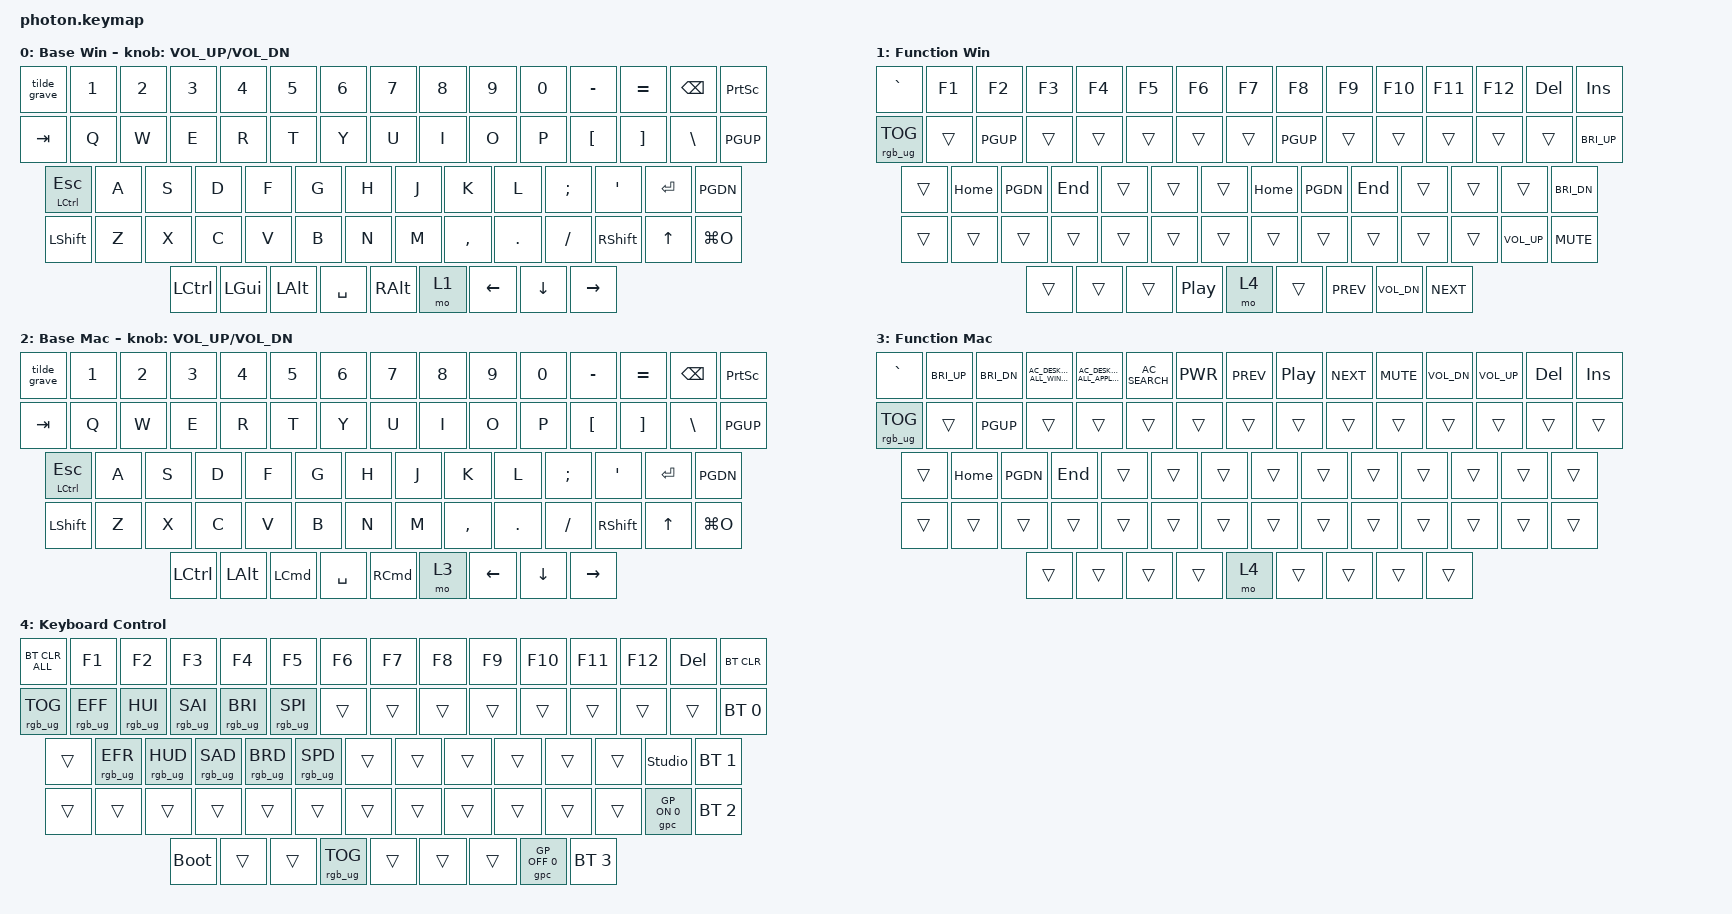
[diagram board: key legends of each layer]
/*
 * Copyright (c) 2024 CannonKeys LLC
 *
 * SPDX-License-Identifier: MIT
 */

#include <behaviors.dtsi>
#include <dt-bindings/zmk/keys.h>
#include <dt-bindings/zmk/rgb.h>
#include <dt-bindings/zmk/bt.h>
#include <dt-bindings/zmk/control_gpio.h>

/ {
    behaviors {
        /*
         * Tilde (~) when pressed; backtick (`) when Shift is held.
         * Like the key above TAB on a normal laptop, but without ESC.
         */
        tilde_grave: tilde_grave {
            compatible = "zmk,behavior-mod-morph";
            #binding-cells = <0>;
            bindings = <&kp LS(GRAVE)>, <&kp GRAVE>;
            mods = <(MOD_LSFT|MOD_RSFT)>;
        };
    };

    keymap {
        compatible = "zmk,keymap";

        windows_base_layer {
            display-name = "Base Win";
            bindings = <
    &tilde_grave &kp N1    &kp N2    &kp N3    &kp N4    &kp N5    &kp N6    &kp N7    &kp N8    &kp N9    &kp N0    &kp MINUS &kp EQUAL  &kp BSPC  &kp PSCRN
    &kp TAB   &kp Q     &kp W     &kp E     &kp R     &kp T     &kp Y     &kp U     &kp I     &kp O     &kp P     &kp LBKT  &kp RBKT   &kp BSLH  &kp PGUP
    &mt LCTRL ESC &kp A     &kp S     &kp D     &kp F     &kp G     &kp H     &kp J     &kp K     &kp L     &kp SEMI  &kp SQT              &kp RET   &kp PGDN
    &kp LSHFT           &kp Z     &kp X     &kp C     &kp V     &kp B     &kp N     &kp M     &kp COMMA &kp DOT   &kp FSLH  &kp RSHFT  &kp UP    &kp LG(O)
    &kp LCTRL &kp LGUI  &kp LALT                                &kp SPACE                               &kp RALT  &mo 1     &kp LEFT   &kp DOWN  &kp RIGHT
                >;
            sensor-bindings = <&inc_dec_kp C_VOL_UP C_VOL_DN>;
        };

        windows_function_layer {
            display-name = "Function Win";
            bindings = <
    &kp GRAVE &kp F1    &kp F2    &kp F3    &kp F4    &kp F5    &kp F6    &kp F7    &kp F8    &kp F9    &kp F10   &kp F11   &kp F12   &kp DEL   &kp INS  
    &rgb_ug RGB_TOG     &trans    &kp PGUP  &trans  &trans    &trans    &trans    &trans    &kp PGUP  &trans    &trans    &trans    &trans    &trans  &kp C_BRI_UP   
    &trans    &kp HOME  &kp PGDN  &kp END  &trans &trans    &trans    &kp HOME  &kp PGDN  &kp END   &trans    &trans              &trans      &kp C_BRI_DN 
    &trans              &trans    &trans    &trans    &trans    &trans    &trans    &trans    &trans    &trans    &trans    &trans    &kp C_VOL_UP    &kp C_MUTE   
    &trans    &trans    &trans                                  &kp C_PP                             &mo 4     &trans    &kp C_PREV    &kp C_VOL_DN    &kp C_NEXT
            >;
        };

        mac_base_layer {
            display-name = "Base Mac";
            bindings = <
    &tilde_grave &kp N1    &kp N2    &kp N3    &kp N4    &kp N5    &kp N6    &kp N7    &kp N8    &kp N9    &kp N0    &kp MINUS &kp EQUAL  &kp BSPC  &kp PSCRN
    &kp TAB   &kp Q     &kp W     &kp E     &kp R     &kp T     &kp Y     &kp U     &kp I     &kp O     &kp P     &kp LBKT  &kp RBKT   &kp BSLH  &kp PGUP
    &mt LCTRL ESC &kp A     &kp S     &kp D     &kp F     &kp G     &kp H     &kp J     &kp K     &kp L     &kp SEMI  &kp SQT              &kp RET   &kp PGDN
    &kp LSHFT           &kp Z     &kp X     &kp C     &kp V     &kp B     &kp N     &kp M     &kp COMMA &kp DOT   &kp FSLH  &kp RSHFT  &kp UP    &kp LG(O)
    &kp LCTRL &kp LALT  &kp LCMD                                &kp SPACE                               &kp RCMD  &mo 3     &kp LEFT   &kp DOWN  &kp RIGHT
                >;
            sensor-bindings = <&inc_dec_kp C_VOL_UP C_VOL_DN>;

        };

        mac_function_layer {
            display-name = "Function Mac";
            bindings = <
    &kp GRAVE   &kp C_BRI_UP   &kp C_BRI_DN   &kp C_AC_DESKTOP_SHOW_ALL_WINDOWS   &kp C_AC_DESKTOP_SHOW_ALL_APPLICATIONS    &kp C_AC_SEARCH    &kp C_PWR    &kp C_PREV    &kp C_PP    &kp C_NEXT    &kp C_MUTE    &kp C_VOL_DN    &kp C_VOL_UP    &kp DEL    &kp INS 
    &rgb_ug RGB_TOG   &trans   &kp PGUP   &trans &trans   &trans    &trans    &trans    &trans    &trans    &trans    &trans    &trans    &trans    &trans   
    &trans   &kp HOME   &kp PGDN   &kp END   &trans &trans    &trans    &trans    &trans    &trans    &trans    &trans              &trans    &trans  
    &trans            &trans   &trans   &trans   &trans    &trans    &trans    &trans    &trans    &trans    &trans    &trans    &trans    &trans  
    &trans   &trans   &trans                               &trans                                  &mo 4     &trans    &trans    &trans    &trans
            >;
        };


        control_layer {
            display-name = "Keyboard Control";
            bindings = <
    &bt BT_CLR_ALL &kp F1    &kp F2    &kp F3    &kp F4    &kp F5    &kp F6    &kp F7    &kp F8    &kp F9    &kp F10   &kp F11   &kp F12   &kp DEL   &bt BT_CLR  
    &rgb_ug RGB_TOG &rgb_ug RGB_EFF &rgb_ug RGB_HUI &rgb_ug RGB_SAI  &rgb_ug RGB_BRI &rgb_ug RGB_SPI &trans    &trans    &trans    &trans    &trans    &trans    &trans    &trans    &bt BT_SEL 0   
    &trans          &rgb_ug RGB_EFR &rgb_ug RGB_HUD &rgb_ug RGB_SAD  &rgb_ug RGB_BRD &rgb_ug RGB_SPD &trans    &trans    &trans    &trans    &trans    &trans    &studio_unlock      &bt BT_SEL 1   
    &trans                          &trans          &trans           &trans          &trans          &trans    &trans    &trans    &trans    &trans    &trans    &trans    &gpc GP_ON 0    &bt BT_SEL 2 
    &bootloader     &trans          &trans                                                           &rgb_ug RGB_TOG                         &trans    &trans    &trans    &gpc GP_OFF 0   &bt BT_SEL 3
            >;
        };

    };
};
